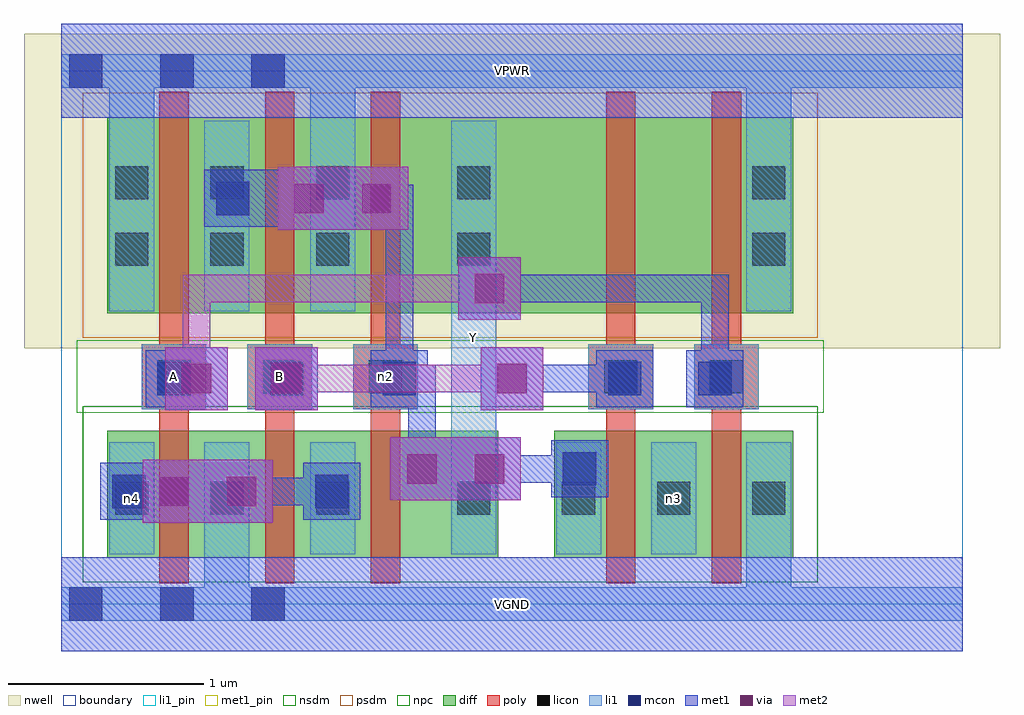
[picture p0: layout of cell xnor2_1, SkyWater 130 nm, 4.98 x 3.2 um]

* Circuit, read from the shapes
.subckt xnor2_1 A B VGND VPWR Y n2 n3 n4
XM1 VGND A n4 VSUBS sky130_fd_pr__nfet_01v8 w=0.65 l=0.15
XM2 n4 B VGND VSUBS sky130_fd_pr__nfet_01v8 w=0.65 l=0.15
XM3 Y n2 n4 VSUBS sky130_fd_pr__nfet_01v8 w=0.65 l=0.15
XM4 n3 B n2 VSUBS sky130_fd_pr__nfet_01v8 w=0.65 l=0.15
XM5 VGND A n3 VSUBS sky130_fd_pr__nfet_01v8 w=0.65 l=0.15
XM6 n2 A VPWR n1 sky130_fd_pr__pfet_01v8 w=1 l=0.15
XM7 VPWR B n2 n1 sky130_fd_pr__pfet_01v8 w=1 l=0.15
XM8 Y n2 VPWR n1 sky130_fd_pr__pfet_01v8 w=1 l=0.15
XM9 n5 B Y n1 sky130_fd_pr__pfet_01v8 w=1 l=0.15
XM10 VPWR A n5 n1 sky130_fd_pr__pfet_01v8 w=1 l=0.15
.ends

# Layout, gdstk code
import gdstk
lib = gdstk.Library(unit=1e-6, precision=1e-09)
def R(c, l, rs):  # rectangles x0, y0, x1, y1
    for r in rs: c.add(gdstk.rectangle(r[:2], r[2:], *l))
def A(c, l, x, y, w, h, nx, ny, dx, dy):  # array of equal rectangles
    R(c, l, [(x+i*dx, y+j*dy, x+i*dx+w, y+j*dy+h) for i in range(nx) for j in range(ny)])
nwell = (64, 20)
diff = (65, 20)
poly = (66, 20)
licon = (66, 44)
li1_pin = (67, 16)
li1 = (67, 20)
mcon = (67, 44)
met1_pin = (68, 16)
met1 = (68, 20)
via = (68, 44)
met2 = (69, 20)
nsdm = (93, 44)
psdm = (94, 20)
npc = (95, 20)
boundary = (235, 4)

xnor2_1 = lib.new_cell('xnor2_1')
R(xnor2_1, nwell, [(-0.19,1.305,4.79,2.91), (0,1.305,4.6,2.91)])
R(xnor2_1, diff, [(0.235,0.235,2.23,0.885), (2.515,0.235,3.735,0.885), (0.235,1.485,3.735,2.485)])
A(xnor2_1, poly, 0.5, 0.105, 0.15, 2.51, 3, 1, 0.54, 0)
A(xnor2_1, poly, 0.41, 0.995, 0.33, 0.33, 3, 1, 0.54, 0)
R(xnor2_1, poly, [(2.78,0.105,2.93,2.615), (3.32,0.105,3.47,2.615), (2.69,0.995,3.02,1.325), (3.23,0.995,3.56,1.325)])
A(xnor2_1, licon, 2.555, 0.455, 0.17, 0.17, 3, 1, 0.485, 0)
A(xnor2_1, licon, 0.49, 1.075, 0.17, 0.17, 3, 1, 0.54, 0)
R(xnor2_1, licon, [(0.275,0.455,0.445,0.625), (0.76,0.455,0.93,0.625), (1.3,0.455,1.47,0.625), (2.02,0.455,2.19,0.625), (2.77,1.075,2.94,1.245), (3.31,1.075,3.48,1.245), (0.275,1.725,0.445,1.895), (0.76,1.725,0.93,1.895), (1.3,1.725,1.47,1.895), (2.02,1.725,2.19,1.895), (3.525,1.725,3.695,1.895), (0.275,2.065,0.445,2.235), (0.76,2.065,0.93,2.235), (1.3,2.065,1.47,2.235), (2.02,2.065,2.19,2.235), (3.525,2.065,3.695,2.235)])
R(xnor2_1, li1_pin, [(1.99,0.255,2.22,2.465), (0.41,0.995,0.74,1.325), (0.95,0.995,1.28,1.325)])
A(xnor2_1, li1, 0.41, 0.995, 0.33, 0.33, 3, 1, 0.54, 0)
R(xnor2_1, li1, [(0,-0.085,4.6,0.085), (0.73,-0.085,0.96,0.825), (3.495,-0.085,3.725,0.825), (0.245,0.255,0.475,0.825), (1.27,0.255,1.5,0.825), (1.99,0.255,2.22,2.465), (2.525,0.255,2.755,0.825), (3.01,0.255,3.24,0.825), (2.69,0.995,3.02,1.325), (3.23,0.995,3.56,1.325), (0.245,1.495,0.475,2.805), (0.73,1.495,0.96,2.465), (1.27,1.495,1.5,2.805), (3.495,1.495,3.725,2.805), (0,2.635,4.6,2.805)])
A(xnor2_1, mcon, 0.04, -0.085, 0.17, 0.17, 3, 2, 0.465, 2.72)
A(xnor2_1, mcon, 0.49, 1.065, 0.17, 0.17, 3, 1, 0.575, 0)
R(xnor2_1, mcon, [(0.26,0.49,0.43,0.66), (1.295,0.49,1.465,0.66), (2.56,0.605,2.73,0.775), (2.79,1.065,2.96,1.235), (3.25,1.065,3.42,1.235), (0.79,1.985,0.96,2.155)])
R(xnor2_1, met1_pin, [(0,-0.24,4.6,0.24), (0,2.48,4.6,2.96)])
A(xnor2_1, met1, 0.43, 1.005, 0.29, 0.29, 3, 1, 0.575, 0)
R(xnor2_1, met1, [(0,-0.24,4.6,0.24), (0.415,0.415,0.735,0.735), (0.735,0.415,0.76,0.735), (0.76,0.415,1.08,0.735), (0.2,0.43,0.49,0.72), (1.235,0.43,1.525,0.72), (0.275,0.505,0.645,0.645), (0.645,0.505,0.76,0.645), (0.735,0.505,0.85,0.645), (0.85,0.505,1.45,0.645), (1.68,0.53,2,0.85), (2,0.53,2.025,0.85), (2.025,0.53,2.345,0.85), (2.5,0.545,2.79,0.835), (1.77,0.62,1.91,1.22), (1.91,0.62,2.025,0.85), (2,0.62,2.115,0.76), (2.115,0.62,2.715,0.76), (0.53,0.99,0.85,1.31), (0.99,0.99,1.31,1.31), (2.14,0.99,2.46,1.31), (2.73,1.005,3.02,1.295), (3.19,1.005,3.48,1.295), (0.505,1.08,0.76,1.22), (1.655,1.08,1.91,1.22), (1.655,1.08,1.795,2.14), (2.23,1.08,2.945,1.22), (3.265,1.08,3.405,1.68), (2.025,1.45,2.345,1.77), (2.115,1.54,3.405,1.68), (1.105,1.91,1.425,2.23), (1.425,1.91,1.45,2.23), (1.45,1.91,1.77,2.23), (0.73,1.925,1.02,2.215), (1.02,1.925,1.105,2.215), (0.805,2,1.105,2.14), (0.965,2,1.335,2.14), (1.335,2,1.45,2.14), (1.425,2,1.54,2.14), (1.54,2,1.795,2.14), (0,2.48,4.6,2.96)])
R(xnor2_1, via, [(0.5,0.5,0.65,0.65), (0.845,0.5,0.995,0.65), (1.765,0.615,1.915,0.765), (2.11,0.615,2.26,0.765), (0.615,1.075,0.765,1.225), (1.075,1.075,1.225,1.225), (2.225,1.075,2.375,1.225), (2.11,1.535,2.26,1.685), (1.19,1.995,1.34,2.145), (1.535,1.995,1.685,2.145)])
R(xnor2_1, met2, [(0.415,0.415,0.735,0.735), (0.735,0.415,0.76,0.735), (0.76,0.415,1.08,0.735), (0.505,0.505,0.99,0.645), (1.68,0.53,2,0.85), (2,0.53,2.025,0.85), (2.025,0.53,2.345,0.85), (1.77,0.62,2.255,0.76), (0.53,0.99,0.85,1.31), (0.99,0.99,1.31,1.31), (2.14,0.99,2.46,1.31), (0.62,1.08,0.76,1.68), (1.08,1.08,2.37,1.22), (2.025,1.45,2.345,1.77), (0.62,1.54,2.255,1.68), (1.105,1.91,1.425,2.23), (1.425,1.91,1.45,2.23), (1.45,1.91,1.77,2.23), (1.195,2,1.68,2.14)])
R(xnor2_1, nsdm, [(0.11,0.11,3.86,1.01)])
R(xnor2_1, psdm, [(0.11,1.36,3.86,2.61)])
R(xnor2_1, npc, [(0.08,0.975,3.89,1.345)])
R(xnor2_1, boundary, [(0,0,4.6,2.72)])
xnor2_1.add(gdstk.Label('A', (0.575,1.16), layer=67, texttype=5))
xnor2_1.add(gdstk.Label('B', (1.115,1.16), layer=67, texttype=5))
xnor2_1.add(gdstk.Label('Y', (2.105,1.36), layer=67, texttype=5))
xnor2_1.add(gdstk.Label('n2', (1.655,1.16), layer=67, texttype=5))
xnor2_1.add(gdstk.Label('n4', (0.36,0.54), layer=67, texttype=5))
xnor2_1.add(gdstk.Label('n3', (3.125,0.54), layer=67, texttype=5))
xnor2_1.add(gdstk.Label('VPWR', (2.3,2.72), layer=68, texttype=5))
xnor2_1.add(gdstk.Label('VGND', (2.3,0), layer=68, texttype=5))
xnor2_1.add(gdstk.Label('A', (0.575,1.16), layer=67, texttype=16))
xnor2_1.add(gdstk.Label('B', (1.115,1.16), layer=67, texttype=16))
xnor2_1.add(gdstk.Label('Y', (2.105,1.36), layer=67, texttype=16))
xnor2_1.add(gdstk.Label('VPWR', (2.3,2.72), layer=68, texttype=16))
xnor2_1.add(gdstk.Label('VGND', (2.3,0), layer=68, texttype=16))

lib.write_gds('xnor2_1.gds')
